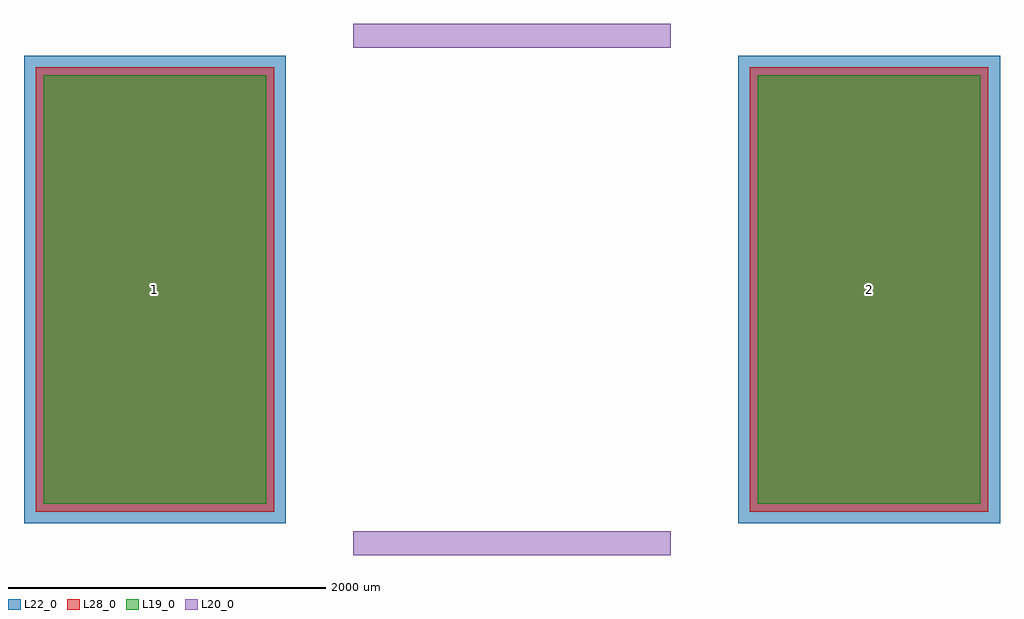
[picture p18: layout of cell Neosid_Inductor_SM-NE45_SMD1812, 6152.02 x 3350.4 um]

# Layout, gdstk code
import gdstk
lib = gdstk.Library(unit=1e-6, precision=1e-09)
def R(c, l, rs):  # rectangles x0, y0, x1, y1
    for r in rs: c.add(gdstk.rectangle(r[:2], r[2:], *l))
L19_0 = (19, 0)
L20_0 = (20, 0)
L22_0 = (22, 0)
L28_0 = (28, 0)

neosid_inductor_sm_ne45_ = lib.new_cell('Neosid_Inductor_SM-NE45_SMD1812')
R(neosid_inductor_sm_ne45_, L19_0, [(-2951.01,-1349.54,-1549.87,1349.54), (1549.87,-1349.54,2951.01,1349.54)])
R(neosid_inductor_sm_ne45_, L22_0, [(-3076.01,-1474.54,-1424.87,1474.54), (1424.87,-1474.54,3076.01,1474.54)])
R(neosid_inductor_sm_ne45_, L28_0, [(-3001.01,-1399.54,-1499.87,1399.54), (1499.87,-1399.54,3001.01,1399.54)])
neosid_inductor_sm_ne45_.add(gdstk.FlexPath([(0,1600.2),(-1000.76,1600.2)], 149.998, ends="flush", simple_path=True, layer=20, datatype=0))  # L20_0
neosid_inductor_sm_ne45_.add(gdstk.FlexPath([(0,1600.2),(1000.76,1600.2)], 149.998, ends="flush", simple_path=True, layer=20, datatype=0))  # L20_0
neosid_inductor_sm_ne45_.add(gdstk.FlexPath([(-1000.76,-1600.2),(1000.76,-1600.2)], 149.998, ends="flush", simple_path=True, layer=20, datatype=0))  # L20_0
neosid_inductor_sm_ne45_.add(gdstk.Label('2', (2250.44,0), layer=28, texttype=0))
neosid_inductor_sm_ne45_.add(gdstk.Label('1', (-2250.44,0), layer=28, texttype=0))
neosid_inductor_sm_ne45_.add(gdstk.Label('type', (0,-3749.04), layer=9, texttype=0))
neosid_inductor_sm_ne45_.add(gdstk.Label('devicename', (0,3251.2), layer=9, texttype=0))

lib.write_gds('Neosid_Inductor_SM-NE45_SMD1812.gds')
